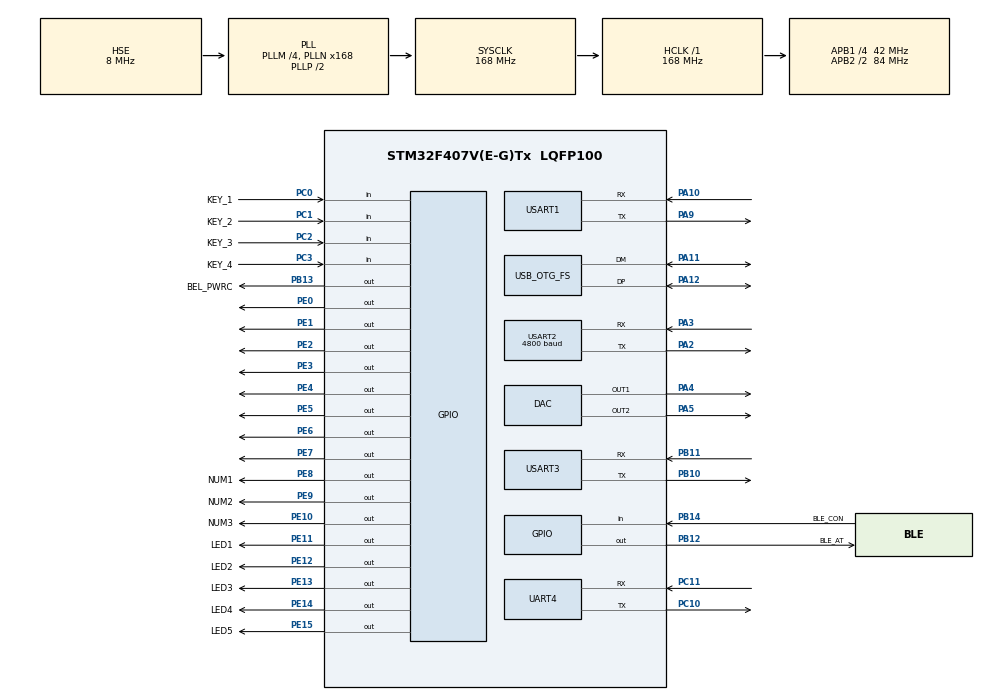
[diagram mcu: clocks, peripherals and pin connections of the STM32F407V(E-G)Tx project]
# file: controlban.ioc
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DAC.DAC_Trigger=DAC_TRIGGER_NONE
Mcu.Family=STM32F4
Mcu.Name=STM32F407V(E-G)Tx
Mcu.Package=LQFP100
NVIC.OTG_FS_IRQn=true\:0\:0\:false\:false\:true\:false
NVIC.PriorityGroup=NVIC_PRIORITYGROUP_4
NVIC.TIM3_IRQn=true\:0\:0\:false\:false\:true\:true
NVIC.UART4_IRQn=true\:0\:0\:false\:false\:true\:true
NVIC.USART1_IRQn=true\:0\:0\:false\:false\:true\:true
NVIC.USART2_IRQn=true\:0\:0\:false\:false\:true\:true
NVIC.USART3_IRQn=true\:0\:0\:false\:false\:true\:true
NVIC.WWDG_IRQn=true\:0\:0\:false\:false\:true\:true
PA10.Mode=Asynchronous
PA10.Signal=USART1_RX
PA11.Mode=Device_Only
PA11.Signal=USB_OTG_FS_DM
PA12.Mode=Device_Only
PA12.Signal=USB_OTG_FS_DP
PA2.Mode=Asynchronous
PA2.Signal=USART2_TX
PA3.Mode=Asynchronous
PA3.Signal=USART2_RX
PA4.Signal=COMP_DAC1_group
PA5.Signal=COMP_DAC2_group
PA9.Mode=Asynchronous
PA9.Signal=USART1_TX
PB10.Mode=Asynchronous
PB10.Signal=USART3_TX
PB11.Mode=Asynchronous
PB11.Signal=USART3_RX
PB12.GPIO_Label=BLE_AT
PB12.Signal=GPIO_Output
PB13.GPIO_Label=BEL_PWRC
PB13.Signal=GPIO_Output
PB14.GPIO_Label=BLE_CON
PB14.Signal=GPIO_Input
PC0.GPIO_Label=KEY_1
PC0.Signal=GPIO_Input
PC1.GPIO_Label=KEY_2
PC1.Signal=GPIO_Input
PC10.Mode=Asynchronous
PC10.Signal=UART4_TX
PC11.Mode=Asynchronous
PC11.Signal=UART4_RX
PC2.GPIO_Label=KEY_3
PC2.Signal=GPIO_Input
PC3.GPIO_Label=KEY_4
PC3.Signal=GPIO_Input
PE0.Signal=GPIO_Output
PE1.Signal=GPIO_Output
PE10.GPIO_Label=NUM3
PE10.Signal=GPIO_Output
PE11.GPIO_Label=LED1
PE11.Signal=GPIO_Output
PE12.GPIO_Label=LED2
PE12.Signal=GPIO_Output
PE13.GPIO_Label=LED3
PE13.Signal=GPIO_Output
PE14.GPIO_Label=LED4
PE14.Signal=GPIO_Output
PE15.GPIO_Label=LED5
PE15.Signal=GPIO_Output
PE2.Signal=GPIO_Output
PE3.Signal=GPIO_Output
PE4.Signal=GPIO_Output
PE5.Signal=GPIO_Output
PE6.Signal=GPIO_Output
PE7.Signal=GPIO_Output
PE8.GPIO_Label=NUM1
PE8.Signal=GPIO_Output
PE9.GPIO_Label=NUM2
PE9.Signal=GPIO_Output
PH0-OSC_IN.Mode=HSE-External-Oscillator
PH0-OSC_IN.Signal=RCC_OSC_IN
PH1-OSC_OUT.Mode=HSE-External-Oscillator
PH1-OSC_OUT.Signal=RCC_OSC_OUT
ProjectManager.HeapSize=0x800
ProjectManager.StackSize=0x800
ProjectManager.TargetToolchain=MDK-ARM V5
RCC.48MHZClocksFreq_Value=48000000
RCC.AHBFreq_Value=168000000
RCC.APB1CLKDivider=RCC_HCLK_DIV4
RCC.APB1Freq_Value=42000000
RCC.APB1TimFreq_Value=84000000
RCC.APB2CLKDivider=RCC_HCLK_DIV2
RCC.APB2Freq_Value=84000000
RCC.APB2TimFreq_Value=168000000
RCC.CortexFreq_Value=168000000
RCC.HCLKFreq_Value=168000000
RCC.HSE_VALUE=8000000
RCC.HSI_VALUE=16000000
RCC.LSE_VALUE=32768
RCC.PLLM=4
RCC.PLLN=168
RCC.PLLQ=7
RCC.SYSCLKFreq_VALUE=168000000
RCC.SYSCLKSource=RCC_SYSCLKSOURCE_PLLCLK
RCC.VCOOutputFreq_Value=336000000
SH.COMP_DAC1_group.0=DAC_OUT1,DAC_OUT1
SH.COMP_DAC2_group.0=DAC_OUT2,DAC_OUT2
TIM3.Period=1000-1
TIM3.Prescaler=8400-1
UART4.VirtualMode=Asynchronous
USART1.VirtualMode=VM_ASYNC
USART2.BaudRate=4800
USART2.VirtualMode=VM_ASYNC
USART3.VirtualMode=VM_ASYNC
USB_DEVICE.CLASS_NAME_FS=HID
USB_DEVICE.USBD_DEBUG_LEVEL-HID_FS=3
USB_DEVICE.VirtualMode-HID_FS=Hid
USB_DEVICE.VirtualModeFS=Hid_FS
USB_OTG_FS.VirtualMode=Device_Only
VP_TIM3_VS_ClockSourceINT.Mode=Internal
VP_USB_DEVICE_VS_USB_DEVICE_HID_FS.Mode=HID_FS
VP_WWDG_VS_WWDG.Mode=WWDG_Activate
WWDG.Counter=125
WWDG.EWIMode=WWDG_EWI_ENABLE
WWDG.Prescaler=WWDG_PRESCALER_8
WWDG.Window=125
board=controlban

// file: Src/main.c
/**
  ******************************************************************************
  * @file           : main.c
  * @brief          : Main program body
  ******************************************************************************
  * This notice applies to any and all portions of this file
  * that are not between comment pairs USER CODE BEGIN and
  * USER CODE END. Other portions of this file, whether
  * inserted by the user or by software development tools
  * are owned by their respective copyright owners.
  *
  * Copyright (c) 2018 STMicroelectronics International N.V.
  * All rights reserved.
  *
  * Redistribution and use in source and binary forms, with or without
  * modification, are permitted, provided that the following conditions are met:
  *
  * 1. Redistribution of source code must retain the above copyright notice,
  *    this list of conditions and the following disclaimer.
  * 2. Redistributions in binary form must reproduce the above copyright notice,
  *    this list of conditions and the following disclaimer in the documentation
  *    and/or other materials provided with the distribution.
  * 3. Neither the name of STMicroelectronics nor the names of other
  *    contributors to this software may be used to endorse or promote products
  *    derived from this software without specific written permission.
  * 4. This software, including modifications and/or derivative works of this
  *    software, must execute solely and exclusively on microcontroller or
  *    microprocessor devices manufactured by or for STMicroelectronics.
  * 5. Redistribution and use of this software other than as permitted under
  *    this license is void and will automatically terminate your rights under
  *    this license.
  *
  * THIS SOFTWARE IS PROVIDED BY STMICROELECTRONICS AND CONTRIBUTORS "AS IS"
  * AND ANY EXPRESS, IMPLIED OR STATUTORY WARRANTIES, INCLUDING, BUT NOT
  * LIMITED TO, THE IMPLIED WARRANTIES OF MERCHANTABILITY, FITNESS FOR A
  * PARTICULAR PURPOSE AND NON-INFRINGEMENT OF THIRD PARTY INTELLECTUAL PROPERTY
  * RIGHTS ARE DISCLAIMED TO THE FULLEST EXTENT PERMITTED BY LAW. IN NO EVENT
  * SHALL STMICROELECTRONICS OR CONTRIBUTORS BE LIABLE FOR ANY DIRECT, INDIRECT,
  * INCIDENTAL, SPECIAL, EXEMPLARY, OR CONSEQUENTIAL DAMAGES (INCLUDING, BUT NOT
  * LIMITED TO, PROCUREMENT OF SUBSTITUTE GOODS OR SERVICES; LOSS OF USE, DATA,
  * OR PROFITS; OR BUSINESS INTERRUPTION) HOWEVER CAUSED AND ON ANY THEORY OF
  * LIABILITY, WHETHER IN CONTRACT, STRICT LIABILITY, OR TORT (INCLUDING
  * NEGLIGENCE OR OTHERWISE) ARISING IN ANY WAY OUT OF THE USE OF THIS SOFTWARE,
  * EVEN IF ADVISED OF THE POSSIBILITY OF SUCH DAMAGE.
  *
  ******************************************************************************
  */
#include "main.h"
#include "stm32f4xx_hal.h"
#include "dac.h"
#include "tim.h"
#include "usart.h"
#include "usb_device.h"
#include "wwdg.h"
#include "gpio.h"

/* USER CODE BEGIN Includes */
#include "FIFO_F4.h"
#include "bluetooth.h"
#include "string.h"
#include "math.h"
#include "string.h"
#include "stdlib.h"
#include "machControl.h"
/* USER CODE END Includes */

/* USER CODE BEGIN PV */
/* Private variables ---------------------------------------------------------*/
extern UART_FIFO_Typedef_t debug;
extern UART_FIFO_Typedef_t bluetooth;

#ifdef __GNUC__
  #define PUTCHAR_PROTOTYPE int __io_putchar(int ch)
#else
  #define PUTCHAR_PROTOTYPE int fputc(int ch, FILE *f)
#endif

PUTCHAR_PROTOTYPE
{
  FIFO_UartSendByte(&debug,ch);//(&huart1, (uint8_t *)&ch, 1, 0xFFFF);
  return ch;
}
/* USER CODE END PV */

void SystemClock_Config(void);

/* USER CODE BEGIN PFP */
/* Private function prototypes -----------------------------------------------*/

/* USER CODE END PFP */

int main(void)
{

  /* MCU Configuration----------------------------------------------------------*/

  /* Reset of all peripherals, Initializes the Flash interface and the Systick. */
  HAL_Init();

  /* Configure the system clock */
  SystemClock_Config();

  /* Initialize all configured peripherals */
  MX_GPIO_Init();
  MX_USART1_UART_Init();
  MX_UART4_Init();
  //MX_WWDG_Init();
  MX_DAC_Init();
  MX_TIM3_Init();
  MX_USART3_UART_Init();
  MX_USB_DEVICE_Init();
  MX_USART2_UART_Init();
  /* USER CODE BEGIN 2 */
  HAL_TIM_Base_Start_IT(&htim3);
  /* USER CODE END 2 */

  /* Infinite loop */
  /* USER CODE BEGIN WHILE */
  initFifo();
  //g_flashBlueToothData.bluetoothConnected = initBlueTooth();
//  uint8_t ch;
  while (1)
  {
//	if(g_flashBlueToothData.bluetoothConnected == WXC_ERROR || getGPIOBLE_CON() != GPIO_PIN_SET)   // don`t connect or had disconnect
//	{
//		g_flashBlueToothData.bluetoothConnected = initBlueTooth();
//	}
//	lightNumLed(getNowRunSpeed());		//get speed and show in num led
//	getblueTooth();
	lightNumLed(controlForKey(getSconKey()));
	//getMachDataforUsart();
	HAL_Delay(60);

  /* USER CODE END WHILE */

  }

}

void SystemClock_Config(void)
{

  RCC_OscInitTypeDef RCC_OscInitStruct;
  RCC_ClkInitTypeDef RCC_ClkInitStruct;

    /**Configure the main internal regulator output voltage
    */
  __HAL_RCC_PWR_CLK_ENABLE();

  __HAL_PWR_VOLTAGESCALING_CONFIG(PWR_REGULATOR_VOLTAGE_SCALE1);

    /**Initializes the CPU, AHB and APB busses clocks
    */
  RCC_OscInitStruct.OscillatorType = RCC_OSCILLATORTYPE_HSE;
  RCC_OscInitStruct.HSEState = RCC_HSE_ON;
  RCC_OscInitStruct.PLL.PLLState = RCC_PLL_ON;
  RCC_OscInitStruct.PLL.PLLSource = RCC_PLLSOURCE_HSE;
  RCC_OscInitStruct.PLL.PLLM = 4;
  RCC_OscInitStruct.PLL.PLLN = 168;
  RCC_OscInitStruct.PLL.PLLP = RCC_PLLP_DIV2;
  RCC_OscInitStruct.PLL.PLLQ = 7;
  if (HAL_RCC_OscConfig(&RCC_OscInitStruct) != HAL_OK)
  {
    _Error_Handler(__FILE__, __LINE__);
  }

    /**Initializes the CPU, AHB and APB busses clocks
    */
  RCC_ClkInitStruct.ClockType = RCC_CLOCKTYPE_HCLK|RCC_CLOCKTYPE_SYSCLK
                              |RCC_CLOCKTYPE_PCLK1|RCC_CLOCKTYPE_PCLK2;
  RCC_ClkInitStruct.SYSCLKSource = RCC_SYSCLKSOURCE_PLLCLK;
  RCC_ClkInitStruct.AHBCLKDivider = RCC_SYSCLK_DIV1;
  RCC_ClkInitStruct.APB1CLKDivider = RCC_HCLK_DIV4;
  RCC_ClkInitStruct.APB2CLKDivider = RCC_HCLK_DIV2;

  if (HAL_RCC_ClockConfig(&RCC_ClkInitStruct, FLASH_LATENCY_5) != HAL_OK)
  {
    _Error_Handler(__FILE__, __LINE__);
  }

    /**Configure the Systick interrupt time
    */
  HAL_SYSTICK_Config(HAL_RCC_GetHCLKFreq()/1000);

    /**Configure the Systick
    */
  HAL_SYSTICK_CLKSourceConfig(SYSTICK_CLKSOURCE_HCLK);

  /* SysTick_IRQn interrupt configuration */
  HAL_NVIC_SetPriority(SysTick_IRQn, 0, 0);
}

/* USER CODE BEGIN 4 */

void lightNumLed(int speed)
{
	int bai = (int)(speed /100);
	int shi = (int)((speed - bai*100)/10);
	int ge = speed % 10;
	//printf("num = %d\r\n",ge);
    setNumLed(bai,1);
    setNumLed(shi,2);
    //setNumLed(ge,3);
}

void HAL_TIM_PeriodElapsedCallback(TIM_HandleTypeDef *htim)
{
	static int stcTimeCount = 0;
	if (htim == &htim3)
	{
		if(++stcTimeCount >= 5)
		{
			stcTimeCount  = 0;
//			getblueTooth();
		}
	}
}

/* USER CODE END 4 */

void _Error_Handler(char *file, int line)
{
  while(1)
  {
  }
}

/************************ (C) COPYRIGHT STMicroelectronics *****END OF FILE****/
